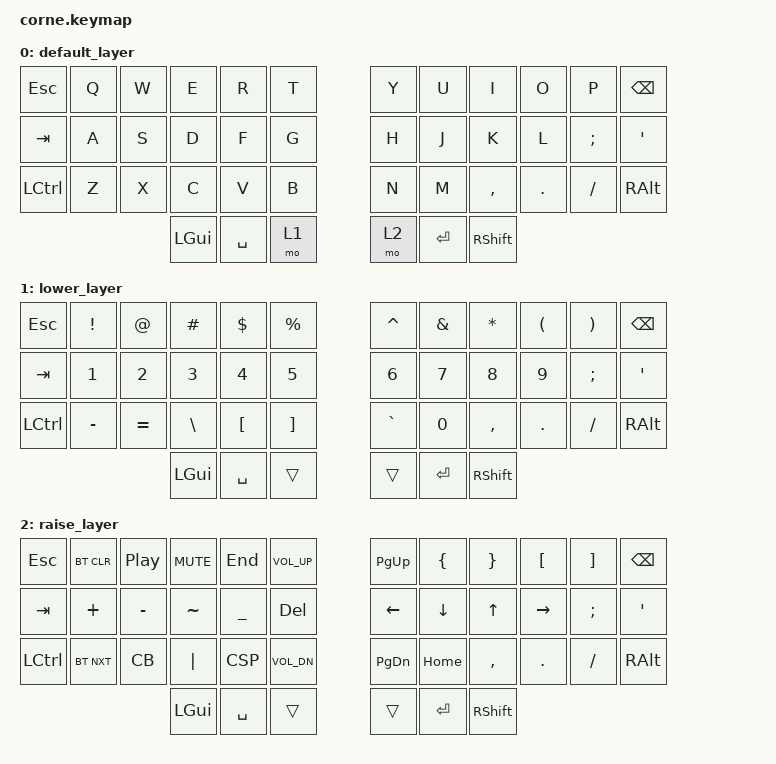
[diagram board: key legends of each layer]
/*
 * Copyright (c) 2020 The ZMK Contributors
 *
 * SPDX-License-Identifier: MIT
 */

#include <behaviors.dtsi>
#include <dt-bindings/zmk/keys.h>
#include <dt-bindings/zmk/bt.h>

/ {
    macros {
	// Macro: Control + b
        CB: CB {
            compatible = "zmk,behavior-macro";
            #binding-cells = <0>;
            bindings = <
                &macro_press &kp LCTRL
                &macro_tap &kp B
                &macro_release &kp LCTRL
            >;
        };
	// Macro: Control + Shift + V
        CSP: CSP {
            compatible = "zmk,behavior-macro";
            #binding-cells = <0>;
            bindings = <
                &macro_press &kp LCTRL
                &macro_press &kp LSFT
                &macro_tap &kp V
                &macro_release &kp LSFT
                &macro_release &kp LCTRL
            >;
        };
    };
};

/ {
        keymap {
                compatible = "zmk,keymap";

                default_layer {
// -----------------------------------------------------------------------------------------
// |  ESC |  Q  |  W  |  E  |  R  |  T  |   |  Y  |  U   |  I   |  O  |  P  | BSPC |
// | TAB  |  A  |  S  |  D  |  F  |  G  |   |  H  |  J   |  K   |  L  |  ;  |  '   |
// | CTRL |  Z  |  X  |  C  |  V  |  B  |   |  N  |  M   |  ,   |  .  |  /  | ALT  |
//                    | GUI | SPC | LWR |   | RSE | ENT  | SHFT |
                        bindings = <
   &kp ESC   &kp Q &kp W   &kp E &kp R &kp T   &kp Y &kp U   &kp I     &kp O   &kp P    &kp BSPC
   &kp TAB   &kp A &kp S   &kp D &kp F &kp G   &kp H &kp J   &kp K     &kp L   &kp SEMI &kp SQT
   &kp LCTRL &kp Z &kp X   &kp C &kp V &kp B   &kp N &kp M   &kp COMMA &kp DOT &kp FSLH &kp RALT
                  &kp LGUI &kp SPACE   &mo 1   &mo 2 &kp RET &kp RSHFT
                        >;
                };
                lower_layer {
// -----------------------------------------------------------------------------------------
// |  ESC |  !  |  @  |  #  |  $  |  %  |   |  ^  |  &  |  *   |  (  |  )  | BSPC |
// | TAB  |  1  |  2  |  3  |  4  |  5  |   |  6  |  7  |  8   |  9  |  ;  |  '   |
// | CTRL |  -  |  =  |  \  |  [  |  ]  |   |  `  |  0  |  ,   |  .  |  /  | ALT  |
//                    | GUI | SPC |     |   |     | ENT | SHFT |
                        bindings = <
   &kp ESC   &kp EXCL  &kp AT    &kp HASH &kp DLLR  &kp PRCNT   &kp CARET &kp AMPS &kp ASTRK &kp LPAR &kp RPAR  &kp BSPC
   &kp TAB   &kp N1    &kp N2    &kp N3   &kp N4    &kp N5      &kp N6    &kp N7   &kp N8    &kp N9   &kp SEMI  &kp SQT
   &kp LCTRL &kp MINUS &kp EQUAL &kp BSLH &kp LBKT  &kp RBKT    &kp GRAVE &kp N0   &kp COMMA &kp DOT  &kp SLASH &kp RALT
                                 &kp LGUI &kp SPACE &trans      &trans    &kp RET  &kp RSHFT
                        >;
                };

                raise_layer {
// -----------------------------------------------------------------------------------------
// | ESC  | BTCLR | PAUSE | MUTE | END | VOL_UP  |   |  PAGE_UP  |   {  |  }   |  [   |  ]  | BSPC |
// | TAB  |   +   |   -   |  ~   |  _  | DEL     |   |    LFT    | DWN  |  UP  |  RGT |  ;  |  '   |
// | CTRL | BRNXT |  CB   | CSCO | CSP | VOL_DWM |   | PAGE_DOWN | HOME |  ,   |  .   |  /  | ALT  |
//                        | GUI  | SPC |         |   |           | ENT  | SHFT |                        
                        bindings = <
   &kp ESC   &bt BT_CLR &kp C_PP  &kp C_MUTE &kp END        &kp C_VOL_UP &kp PAGE_UP   &kp LBRC &kp RBRC  &kp LBKT  &kp RBKT &kp BSPC
   &kp TAB   &kp PLUS   &kp MINUS &kp TILDE  &kp UNDERSCORE &kp DELETE   &kp LEFT      &kp DOWN &kp UP    &kp RIGHT &kp SEMI &kp SQT
   &kp LCTRL &bt BT_NXT &CB       &kp PIPE   &CSP           &kp C_VOL_DN &kp PAGE_DOWN &kp HOME &kp COMMA &kp DOT   &kp FSLH &kp RALT
                                  &kp LGUI   &kp SPACE      &trans       &trans        &kp RET  &kp RSHFT
                        >;
                };
        };
};
